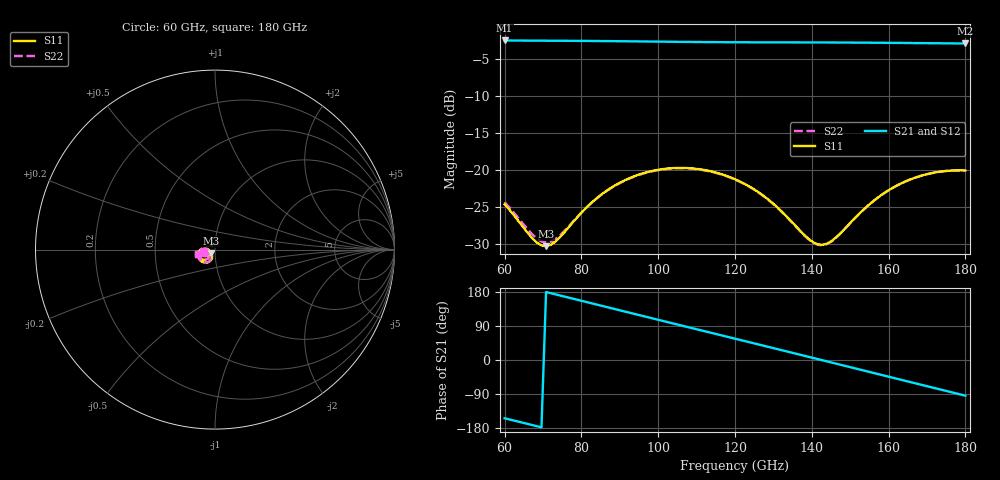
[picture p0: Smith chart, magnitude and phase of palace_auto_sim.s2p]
#  GHZ S DB R 50
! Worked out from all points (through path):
!   101 points, 60 GHz to 180 GHz, reference 50 ohm
!   highest |S21| = -2.51 dB at 60 GHz (marker M1); lowest = -2.9 dB at 180 GHz (marker M2)
!   group delay of S21, straight-line fit = 6.95 ps
!   lowest |S11| = -30.4 dB at 70.8 GHz (marker M3), VSWR 1.06, Z = 47.8 - j1.94 ohm
!   |S11| at or under -10 dB: start of sweep to end of sweep
!   |S22| runs from -30.2 to -19.8 dB; largest |S21 - S12| = 8.3e-14
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60  -24.68 -169.3  -2.51 -153.8  -2.51 -153.8  -24.41 -168.8
67.2  -29.28 -158.0  -2.54 -171.7  -2.54 -171.7  -28.76 -158.7
70.8  -30.36 -138.1  -2.55 179.3  -2.55 179.3  -29.87 -140.6
74.4  -29.16 -119.2  -2.56 170.3  -2.56 170.3  -28.91 -122.6
80.4  -25.61 -109.3  -2.58 155.3  -2.58 155.3  -25.60 -111.9
85.2  -23.37 -112.4  -2.59 143.2  -2.59 143.2  -23.40 -114.4
90  -21.77 -119.2  -2.62 131.2  -2.62 131.2  -21.82 -120.8
96  -20.50 -130.0  -2.65 116.1  -2.65 116.1  -20.55 -131.3
100.8  -19.95 -139.4  -2.68 104.1  -2.68 104.1  -20.00 -140.6
105.6  -19.77 -149.0  -2.70 92.1  -2.70 92.1  -19.81 -150.0
110.4  -19.92 -158.4  -2.72 80.2  -2.72 80.2  -19.96 -159.4
120  -21.30 -175.8  -2.76 56.3  -2.76 56.3  -21.34 -176.7
126  -23.02 175.8  -2.77 41.3  -2.77 41.3  -23.06 175.0
130.8  -24.99 172.4  -2.77 29.3  -2.77 29.3  -25.05 171.6
140.4  -29.84 -168.6  -2.78 5.3  -2.78 5.3  -29.91 -169.1
142.8  -30.18 -155.9  -2.79 -0.8  -2.79 -0.8  -30.24 -156.3
145.2  -29.65 -143.7  -2.79 -6.8  -2.79 -6.8  -29.70 -144.0
152.4  -25.95 -127.5  -2.81 -24.9  -2.81 -24.9  -25.96 -127.9
160.8  -22.54 -132.6  -2.84 -46.1  -2.84 -46.1  -22.56 -133.0
170.4  -20.56 -147.4  -2.88 -70.1  -2.88 -70.1  -20.57 -147.8
175.2  -20.17 -155.9  -2.91 -82.1  -2.91 -82.1  -20.17 -156.3
180  -20.12 -164.6  -2.92 -94.1  -2.92 -94.1  -20.13 -164.9
